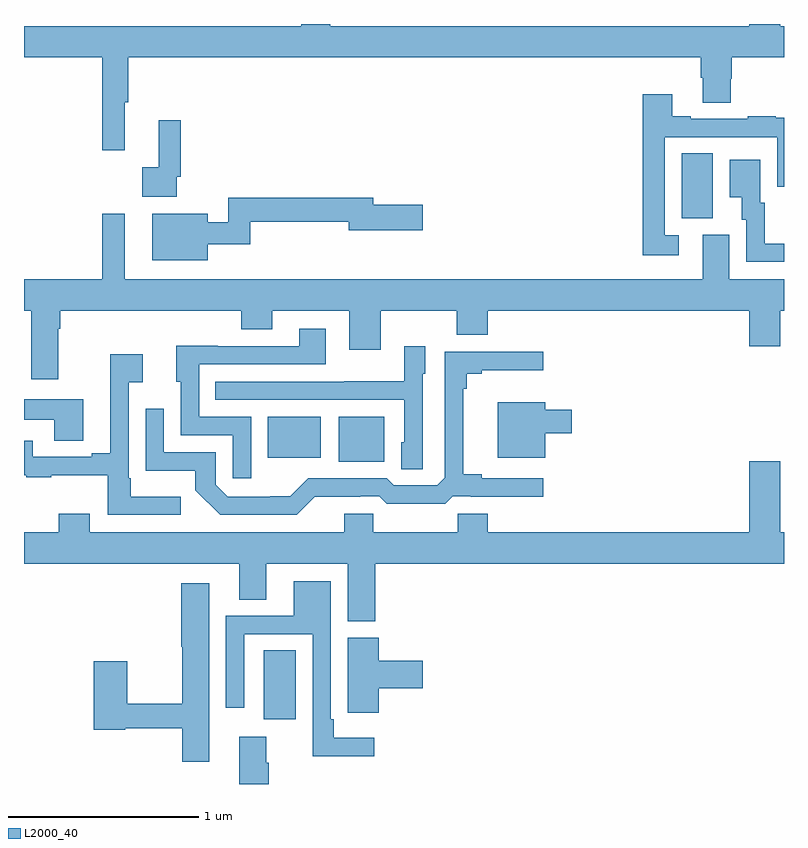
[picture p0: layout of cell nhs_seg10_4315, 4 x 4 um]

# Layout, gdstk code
import gdstk
lib = gdstk.Library(unit=1e-6, precision=1e-09)
def R(c, l, rs):  # rectangles x0, y0, x1, y1
    for r in rs: c.add(gdstk.rectangle(r[:2], r[2:], *l))
def P(c, l, *ps):  # polygons
    for p in ps: c.add(gdstk.Polygon(p, *l))
L2000_40 = (2000, 40)

nhs_seg10_4315 = lib.new_cell('nhs_seg10_4315')
R(nhs_seg10_4315, L2000_40, [(354.263,1288.842,354.43,1289.204), (354.656,1290.197,354.895,1290.433), (354.284,1290.218,354.562,1290.433), (356.462,1291.477,356.626,1291.82)])
P(nhs_seg10_4315, L2000_40, [(353.531,1292.088),(353.549,1292.088),(353.549,1292.324),(356.561,1292.324),(356.561,1292.218),(356.573,1292.218),(356.573,1292.086),(356.721,1292.086),(356.721,1292.211),(356.726,1292.211),(356.726,1292.324),(357,1292.324),(357,1292.488),(356.98,1292.488),(356.98,1292.5),(356.816,1292.5),(356.816,1292.488),(354.611,1292.488),(354.611,1292.5),(354.458,1292.5),(354.458,1292.488),(353,1292.488),(353,1292.324),(353.413,1292.324),(353.413,1291.836),(353.531,1291.836)],
  [(356.446,1291.389),(356.373,1291.389),(356.373,1291.905),(356.964,1291.905),(356.964,1291.644),(357,1291.644),(357,1292.007),(356.957,1292.007),(356.957,1292.014),(356.809,1292.014),(356.809,1292.001),(356.509,1292.001),(356.509,1292.014),(356.413,1292.014),(356.413,1292.131),(356.257,1292.131),(356.257,1291.284),(356.446,1291.284)],
  [(353.805,1291.696),(353.825,1291.696),(353.825,1291.993),(353.708,1291.993),(353.708,1291.745),(353.622,1291.745),(353.622,1291.592),(353.805,1291.592)],
  [(357,1291.344),(356.899,1291.344),(356.899,1291.56),(356.875,1291.56),(356.875,1291.786),(356.714,1291.786),(356.714,1291.589),(356.777,1291.589),(356.777,1291.47),(356.802,1291.47),(356.802,1291.248),(357,1291.248)],
  [(353.968,1291.34),(354.191,1291.34),(354.191,1291.458),(354.71,1291.458),(354.71,1291.415),(355.099,1291.415),(355.099,1291.55),(354.838,1291.55),(354.838,1291.586),(354.075,1291.586),(354.075,1291.457),(353.968,1291.457),(353.968,1291.501),(353.675,1291.501),(353.675,1291.256),(353.968,1291.256)],
  [(353.179,1290.896),(353.192,1290.896),(353.192,1290.992),(354.143,1290.992),(354.143,1290.893),(354.307,1290.893),(354.307,1290.992),(354.713,1290.992),(354.713,1290.786),(354.877,1290.786),(354.877,1290.992),(355.277,1290.992),(355.277,1290.864),(355.441,1290.864),(355.441,1290.992),(356.816,1290.992),(356.816,1290.804),(356.98,1290.804),(356.98,1290.992),(357,1290.992),(357,1291.156),(356.713,1291.156),(356.713,1291.392),(356.573,1291.392),(356.573,1291.156),(353.53,1291.156),(353.53,1291.501),(353.413,1291.501),(353.413,1291.156),(353,1291.156),(353,1290.992),(353.039,1290.992),(353.039,1290.63),(353.179,1290.63)],
  [(354.195,1290.432),(353.922,1290.432),(353.922,1290.708),(354.589,1290.708),(354.589,1290.895),(354.449,1290.895),(354.449,1290.804),(354.019,1290.804),(354.019,1290.806),(353.801,1290.806),(353.801,1290.618),(353.826,1290.618),(353.826,1290.336),(354.099,1290.336),(354.099,1290.108),(354.195,1290.108)],
  [(355.098,1290.66),(355.111,1290.66),(355.111,1290.805),(355.002,1290.805),(355.002,1290.619),(354.685,1290.619),(354.685,1290.618),(354.007,1290.618),(354.007,1290.522),(355.002,1290.522),(355.002,1290.3),(354.986,1290.3),(354.986,1290.157),(355.098,1290.157)],
  [(354.53,1290.011),(354.77,1290.011),(354.77,1290.015),(354.87,1290.015),(354.91,1289.976),(355.217,1289.976),(355.257,1290.015),(355.351,1290.015),(355.351,1290.011),(355.732,1290.011),(355.732,1290.108),(355.408,1290.108),(355.408,1290.131),(355.313,1290.131),(355.313,1290.581),(355.331,1290.581),(355.331,1290.658),(355.408,1290.658),(355.408,1290.677),(355.732,1290.677),(355.732,1290.774),(355.215,1290.774),(355.215,1290.111),(355.176,1290.072),(354.945,1290.072),(354.909,1290.108),(354.495,1290.108),(354.401,1290.014),(354.296,1290.014),(354.296,1290.012),(354.072,1290.012),(354.009,1290.075),(354.009,1290.246),(353.736,1290.246),(353.736,1290.475),(353.64,1290.475),(353.64,1290.149),(353.902,1290.149),(353.902,1290.047),(354.032,1289.916),(354.435,1289.916)],
  [(353.824,1290.013),(353.563,1290.013),(353.563,1290.109),(353.55,1290.109),(353.55,1290.614),(353.626,1290.614),(353.626,1290.763),(353.453,1290.763),(353.453,1290.241),(353.357,1290.241),(353.357,1290.222),(353.047,1290.222),(353.047,1290.307),(353,1290.307),(353,1290.126),(353.011,1290.126),(353.011,1290.114),(353.143,1290.114),(353.143,1290.125),(353.442,1290.125),(353.442,1289.916),(353.824,1289.916)],
  [(353.311,1290.526),(353,1290.526),(353,1290.416),(353.159,1290.416),(353.159,1290.307),(353.311,1290.307)],
  [(355.744,1290.347),(355.882,1290.347),(355.882,1290.469),(355.744,1290.469),(355.744,1290.508),(355.493,1290.508),(355.493,1290.218),(355.744,1290.218)],
  [(354.848,1289.66),(357,1289.66),(357,1289.824),(356.98,1289.824),(356.98,1290.199),(356.816,1290.199),(356.816,1289.824),(355.442,1289.824),(355.442,1289.922),(355.282,1289.922),(355.282,1289.824),(354.837,1289.824),(354.837,1289.922),(354.686,1289.922),(354.686,1289.824),(353.347,1289.824),(353.347,1289.923),(353.183,1289.923),(353.183,1289.824),(353,1289.824),(353,1289.66),(354.134,1289.66),(354.134,1289.47),(354.274,1289.47),(354.274,1289.66),(354.704,1289.66),(354.704,1289.356),(354.848,1289.356)],
  [(354.844,1288.744),(354.631,1288.744),(354.631,1288.84),(354.615,1288.84),(354.615,1289.566),(354.419,1289.566),(354.419,1289.385),(354.063,1289.385),(354.063,1288.902),(354.159,1288.902),(354.159,1289.289),(354.519,1289.289),(354.519,1288.646),(354.844,1288.646)],
  [(353.974,1289.557),(353.828,1289.557),(353.828,1289.222),(353.833,1289.222),(353.833,1288.922),(353.544,1288.922),(353.544,1289.146),(353.366,1289.146),(353.366,1288.786),(353.532,1288.786),(353.532,1288.794),(353.833,1288.794),(353.833,1288.617),(353.974,1288.617)],
  [(354.866,1289.003),(355.099,1289.003),(355.099,1289.15),(354.866,1289.15),(354.866,1289.271),(354.704,1289.271),(354.704,1288.987),(354.705,1288.987),(354.705,1288.875),(354.866,1288.875)],
  [(354.287,1288.613),(354.274,1288.613),(354.274,1288.75),(354.134,1288.75),(354.134,1288.5),(354.287,1288.5)])

lib.write_gds('nhs_seg10_4315.gds')
